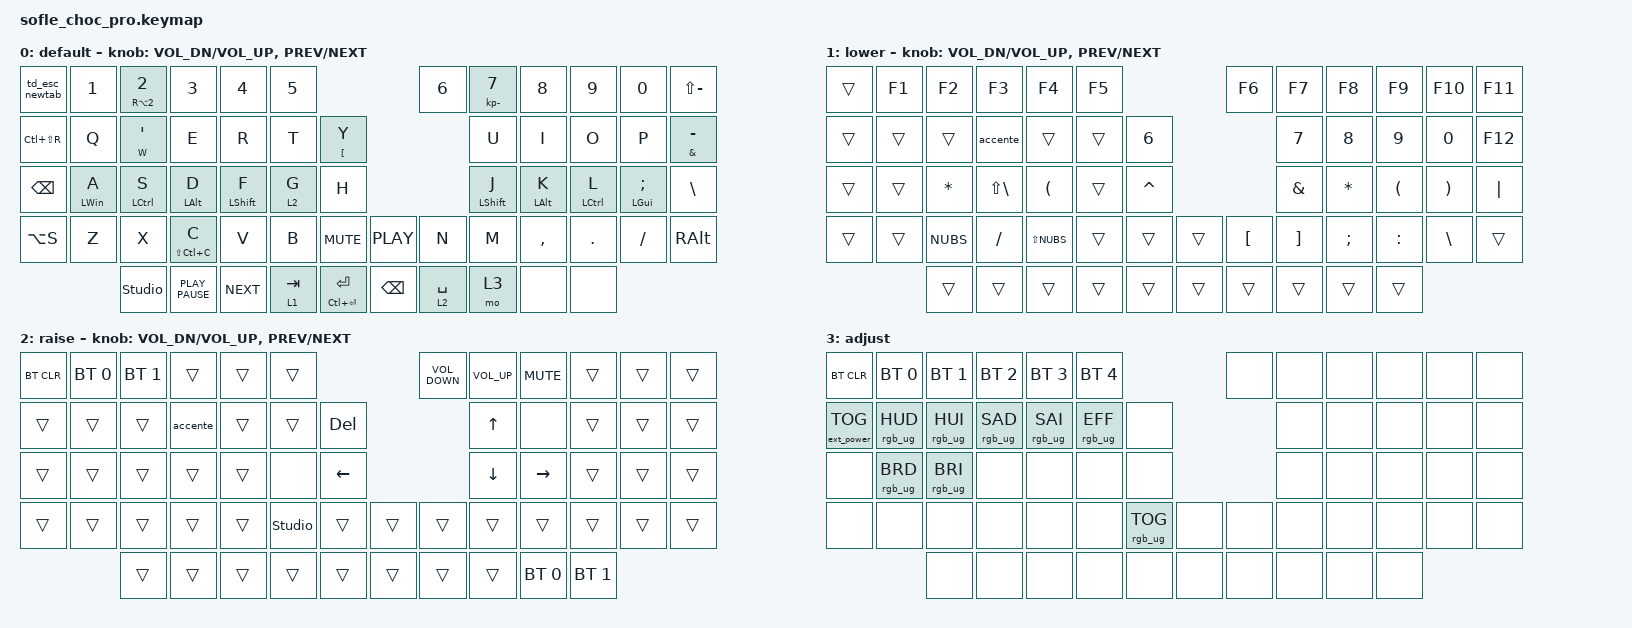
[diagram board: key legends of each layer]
/*
* Copyright (c) 2020 The ZMK Contributors
*
* SPDX-License-Identifier: MIT
*/

#include <behaviors.dtsi>
#include <dt-bindings/zmk/bt.h>
#include <dt-bindings/zmk/ext_power.h>
#include <dt-bindings/zmk/keys.h>
#include <dt-bindings/zmk/rgb.h>

#define BASE 0
#define LOWER 1
#define RAISE 2
#define ADJUST 3

/ {
    // Activate ADJUST layer by pressing raise and lower

    conditional_layers { compatible = "zmk,conditional-layers"; };

    behaviors {
        td_esc_newtab: td_esc_newtab {
            compatible = "zmk,behavior-tap-dance";
            label = "TD_ESC_NEWTAB";
            #binding-cells = <0>;
            bindings = <&kp ESCAPE>, <&kp LC(T)>;
        };

        shtctrlc: shtctrlc {
            compatible = "zmk,behavior-hold-tap";
            label = "SHTCTRLC";
            bindings = <&kp>, <&kp>;

            #binding-cells = <2>;
            flavor = "tap-preferred";
            tapping-term-ms = <350>;
        };

        hrwmod: hrwmod {
            compatible = "zmk,behavior-hold-tap";
            label = "HRWMOD";
            bindings = <&kp>, <&kp>;

            #binding-cells = <2>;
            flavor = "tap-preferred";
            tapping-term-ms = <200>;
            quick-tap-ms = <0>;
        };
    };

    macros {
        accente: accente {
            compatible = "zmk,behavior-macro";
            #binding-cells = <0>;
            bindings = <&kp EQUAL &kp E>;
            label = "ACCENTE";
        };
    };

    keymap {
        compatible = "zmk,keymap";

        default_layer {
            display-name = "default";

            // ------------------------------------------------------------------------------------------------------------
            // |   `   |  1  |  2  |  3   |  4   |  5   |                   |  6   |  7    |  8    |  9   |   0   |   `   |
            // |  ESC  |  Q  |  W  |  E   |  R   |  T   |                   |  Y   |  U    |  I    |  O   |   P   | BKSPC |
            // |  TAB  |  A  |  S  |  D   |  F   |  G   |                   |  H   |  J    |  K    |  L   |   ;   |   '   |
            // | SHIFT |  Z  |  X  |  C   |  V   |  B   |  MUTE  |  | PLAY  |  N   |  M    |  ,    |  .   |   /   | SHIFT |
            //               | GUI | ALT  | CTRL | LOWER|  ENTER |  | SPACE | RAISE| CTRL  | ALT   | GUI  |

            bindings = <
&td_esc_newtab  &kp N1              &mt RA(NUMBER_2) N2  &kp N3                 &kp N4                &kp N5                                        &kp N6       &mt KP_MINUS N7       &kp N8              &kp N9           &kp N0                      &kp LS(MINUS)
&kp LC(LS(R))   &kp Q               &mt W APOS           &kp E                  &kp R                 &kp T      &mt LEFT_BRACKET Y                              &kp U                 &kp I               &kp O            &kp P                       &mt AMPS MINUS
&kp BACKSPACE   &hrwmod LEFT_WIN A  &hrwmod LCTRL S      &hrwmod LEFT_ALT D     &hrwmod LEFT_SHIFT F  &lt 2 G    &kp H                                           &hrwmod LEFT_SHIFT J  &hrwmod LEFT_ALT K  &hrwmod LCTRL L  &hrwmod LEFT_GUI SEMICOLON  &kp BACKSLASH
&kp LA(S)       &kp Z               &kp X                &shtctrlc LS(LC(C)) C  &kp V                 &kp B      &kp C_MUTE          &kp C_PLAY     &kp N        &kp M                 &kp COMMA           &kp DOT          &kp FSLH                    &kp RIGHT_ALT
                                    &studio_unlock       &kp K_PLAY_PAUSE       &kp K_NEXT            &lt 1 TAB  &mt LC(RET) RET     &kp BACKSPACE  &lt 2 SPACE  &mo 3                 &none               &none
            >;

            sensor-bindings = <&inc_dec_kp C_VOL_DN C_VOL_UP &inc_dec_kp C_PREV C_NEXT>;
        };

        lower_layer {
            display-name = "lower";

            // ------------------------------------------------------------------------------------------------------------
            // |       |  F1 |  F2 |  F3  |  F4  |  F5  |                   |  F6  |  F7   |  F8   |  F9  |  F10  |  F11  |
            // |   `   |  1  |  2  |  3   |  4   |  5   |                   |  6   |  7    |  8    |  9   |   0   |  F12  |
            // |       |  !  |  @  |  #   |  $   |  %   |                   |  ^   |  &    |  *    |  (   |   )   |   |   |
            // |       |  =  |  -  |  +   |  {   |  }   |        |  |       |  [   |  ]    |  ;    |  :   |   \   |       |
            //               |     |      |      |      |        |  |       |      |       |       |      |

            bindings = <
&trans  &kp F1  &kp F2     &kp F3             &kp F4                &kp F5                     &kp F6    &kp F7    &kp F8     &kp F9     &kp F10   &kp F11
&trans  &trans  &trans     &accente           &trans                &trans  &kp N6                       &kp N7    &kp N8     &kp N9     &kp N0    &kp F12
&trans  &trans  &kp ASTRK  &kp LS(BACKSLASH)  &kp LEFT_PARENTHESIS  &trans  &kp CARET                    &kp AMPS  &kp ASTRK  &kp LPAR   &kp RPAR  &kp PIPE
&trans  &trans  &kp NUBS   &kp FSLH           &kp LS(NUBS)          &trans  &trans     &trans  &kp LBKT  &kp RBKT  &kp SEMI   &kp COLON  &kp BSLH  &trans
                &trans     &trans             &trans                &trans  &trans     &trans  &trans    &trans    &trans     &trans
            >;

            sensor-bindings = <&inc_dec_kp C_VOL_DN C_VOL_UP &inc_dec_kp C_PREV C_NEXT>;
        };

        raise_layer {
            display-name = "raise";

            // ------------------------------------------------------------------------------------------------------------
            // | BTCLR | BT1  | BT2  |  BT3  |  BT4  |  BT5 |                |      |      |       |      |       |       |
            // |       | INS  | PSCR | GUI   |       |      |                | PGUP |      |   ^   |      |       |       |
            // |       | ALT  | CTRL | SHIFT |       | CAPS |                | PGDN |   <- |   v   |  ->  |  DEL  | BKSPC |
            // |       | UNDO | CUT  | COPY  | PASTE |      |      |  |      |      |      |       |      |       |       |
            //                |      |       |       |      |      |  |      |      |      |       |      |

            bindings = <
&bt BT_CLR  &bt BT_SEL 0  &bt BT_SEL 1  &trans    &trans  &trans                            &kp C_VOLUME_DOWN  &kp C_VOLUME_UP  &kp K_MUTE    &trans        &trans  &trans
&trans      &trans        &trans        &accente  &trans  &trans          &kp DEL                              &kp UP_ARROW     &none         &trans        &trans  &trans
&trans      &trans        &trans        &trans    &trans  &none           &kp LEFT                             &kp DOWN         &kp RIGHT     &trans        &trans  &trans
&trans      &trans        &trans        &trans    &trans  &studio_unlock  &trans    &trans  &trans             &trans           &trans        &trans        &trans  &trans
                          &trans        &trans    &trans  &trans          &trans    &trans  &trans             &trans           &bt BT_SEL 0  &bt BT_SEL 1
            >;

            sensor-bindings = <&inc_dec_kp C_VOL_DN C_VOL_UP &inc_dec_kp C_PREV C_NEXT>;
        };

        adjust_layer {
            // ----------------------------------------------------------------------------------------------------------------------------
            // | BTCLR  |  BT1    |  BT2    |   BT3   |   BT4   |   BT5   |                  |      |      |       |      |       |       |
            // | EXTPWR | RGB_HUD | RGB_HUI | RGB_SAD | RGB_SAI | RGB_EFF |                  |      |      |       |      |       |       |
            // |        | RGB_BRD | RGB_BRI |         |         |         |                  |      |      |       |      |       |       |
            // |        |         |         |         |         |         | RGB_TOG | |      |      |      |       |      |       |       |
            //                    |         |         |         |         |         | |      |      |      |       |      |

            display-name = "adjust";
            bindings = <
&bt BT_CLR         &bt BT_SEL 0     &bt BT_SEL 1     &bt BT_SEL 2     &bt BT_SEL 3     &bt BT_SEL 4                             &none  &none  &none  &none  &none  &none
&ext_power EP_TOG  &rgb_ug RGB_HUD  &rgb_ug RGB_HUI  &rgb_ug RGB_SAD  &rgb_ug RGB_SAI  &rgb_ug RGB_EFF  &none                          &none  &none  &none  &none  &none
&none              &rgb_ug RGB_BRD  &rgb_ug RGB_BRI  &none            &none            &none            &none                          &none  &none  &none  &none  &none
&none              &none            &none            &none            &none            &none            &rgb_ug RGB_TOG  &none  &none  &none  &none  &none  &none  &none
                                    &none            &none            &none            &none            &none            &none  &none  &none  &none  &none
            >;
        };
    };
};
